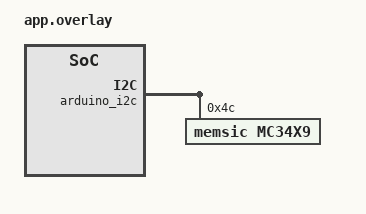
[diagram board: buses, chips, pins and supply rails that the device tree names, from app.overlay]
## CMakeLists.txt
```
cmake_minimum_required(VERSION 3.20.0)

find_package(Zephyr REQUIRED HINTS $ENV{ZEPHYR_BASE})
project(NONE)

target_sources(app PRIVATE
  src/main.c
)

zephyr_library_include_directories(.)
```

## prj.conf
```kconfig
CONFIG_STDOUT_CONSOLE=y
CONFIG_CBPRINTF_FP_SUPPORT=y
CONFIG_LOG=y

CONFIG_SENSOR=y

CONFIG_I2C=y
CONFIG_MC34X9=y
```

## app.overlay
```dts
&arduino_i2c {
    status = "okay";

    mc34x9@4c {
        compatible = "memsic,mc34x9";
        reg = <0x4c>;
    };
};
```

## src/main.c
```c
#include <zephyr/kernel.h>
#include <zephyr/drivers/sensor.h>
#include <stdio.h>

BUILD_ASSERT((DT_HAS_COMPAT_STATUS_OKAY(memsic_mc34x9) == 1), "unable to find ocu3_can_bus in device tree");

void main(void)
{
    int err = -1;
    /** @NOTE: Only included to allow the SYS_INIT() LOG msgs do not collide with the printk's here */
    k_sleep(K_SECONDS(5));

    printk("MC34X9 Sample!\n");

	const struct device *dev = DEVICE_DT_GET_ANY(memsic_mc34x9);
	if (!device_is_ready(dev)) {
		printk("Device %s is not ready\n", dev->name);
		return;
	}

    while (1) {
        static int i = 0;
        k_sleep(K_MSEC(100));

        err = sensor_sample_fetch(dev);
        if (err) {
            printk("Failed to fetch sensor sample: %d\n", err);
            return;
        }

        struct sensor_value accel[3];
        err = sensor_channel_get(dev, SENSOR_CHAN_ACCEL_XYZ, accel);
        if (err) {
            printk("Failed to get sensor channel: %d\n", err);
            return;
        }

        printf("\t%d - %llu - AX=%10.2f AY=%10.2f AZ=%10.2f (m/s^2)\n",
            ++i,
            k_uptime_get(),
            sensor_value_to_double(&accel[0]),
            sensor_value_to_double(&accel[1]),
            sensor_value_to_double(&accel[2]));
    }
}
```
